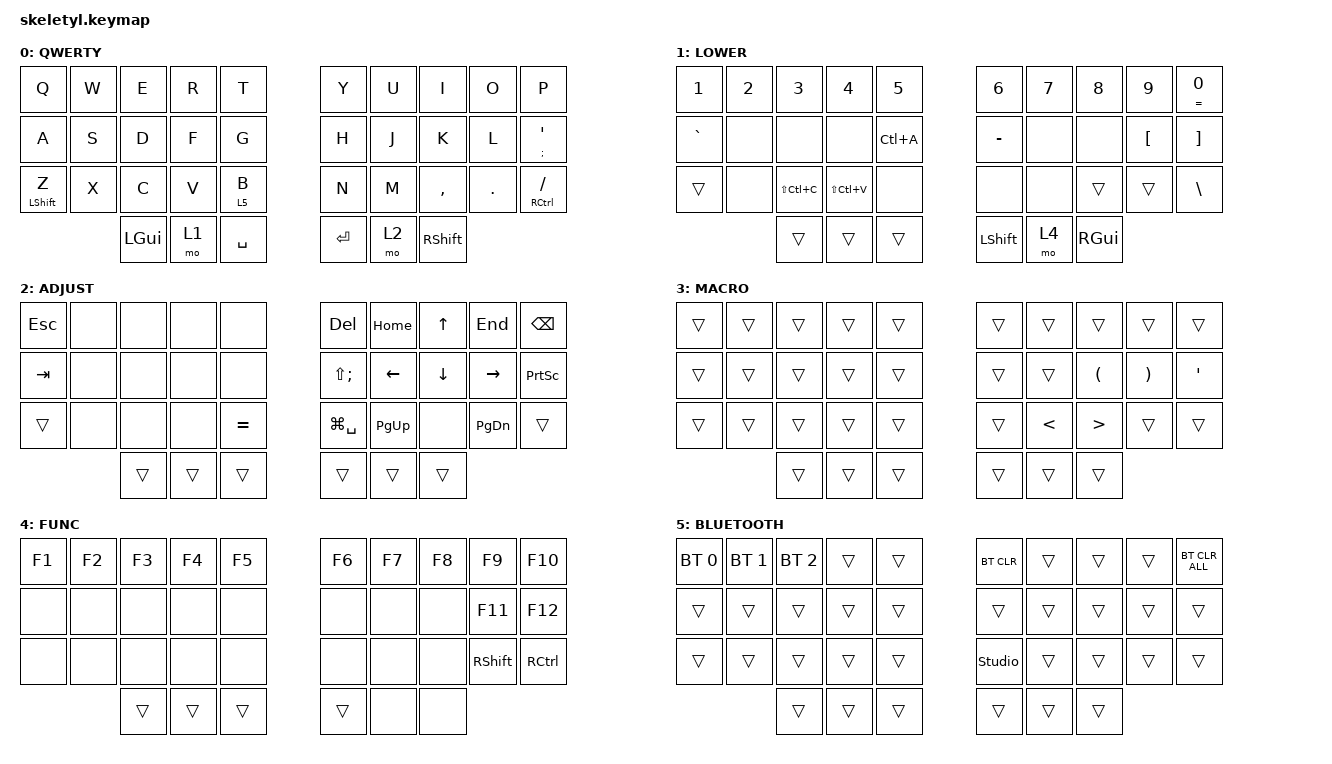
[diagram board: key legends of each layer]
#include <behaviors.dtsi>
#include <dt-bindings/zmk/bt.h>
#include <dt-bindings/zmk/keys.h>

/ {
    behaviors {
        hm: homerow_mods {
            compatible = "zmk,behavior-hold-tap";
            label = "HOMEROW_MODS";
            #binding-cells = <2>;
            tapping-term-ms = <300>;
            quick_tap_ms = <0>;
            flavor = "tap-preferred";
            bindings = <&kp>, <&kp>;
        };
    };

    conditional_layers { compatible = "zmk,conditional-layers"; };

    combos {
        compatible = "zmk,combos";

        esc {
            bindings = <&kp ESC>;
            key-positions = <0 1>;
            layers = <0 1 2 3 4>;
        };

        back {
            bindings = <&kp BACKSPACE>;
            key-positions = <8 9>;
            layers = <0 2 1 3 4>;
        };

        Tab {
            bindings = <&kp TAB>;
            key-positions = <10 11>;
        };
    };

    keymap {
        compatible = "zmk,keymap";

        QWERTY {
            bindings = <
&kp Q             &kp W  &kp E         &kp R  &kp T        &kp Y      &kp U  &kp I            &kp O       &kp P
&kp A             &kp S  &kp D         &kp F  &kp G        &kp H      &kp J  &kp K            &kp L       &hm SEMI SQT
&hm LEFT_SHIFT Z  &kp X  &kp C         &kp V  &lt 5 B      &kp N      &kp M  &kp COMMA        &kp PERIOD  &hm RCTRL SLASH
                         &kp LEFT_GUI  &mo 1  &kp SPACE    &kp ENTER  &mo 2  &kp RIGHT_SHIFT
            >;

            label = "QWERTY";
        };

        LOWER {
            bindings = <
&kp N1     &kp N2  &kp N3         &kp N4         &kp N5       &kp N6          &kp N7  &kp N8         &kp N9            &hm EQUAL N0
&kp GRAVE  &none   &none          &none          &kp LC(A)    &kp MINUS       &none   &none          &kp LEFT_BRACKET  &kp RIGHT_BRACKET
&trans     &none   &kp LS(LC(C))  &kp LS(LC(V))  &none        &none           &none   &trans         &trans            &kp BACKSLASH
                   &trans         &trans         &trans       &kp LEFT_SHIFT  &mo 4   &kp RIGHT_GUI
            >;

            label = "LOWER";
        };

        ADJUST {
            bindings = <
&kp ESC  &none  &none   &none   &none        &kp DELETE         &kp HOME        &kp UP_ARROW    &kp END          &kp BACKSPACE
&kp TAB  &none  &none   &none   &none        &kp LS(SEMICOLON)  &kp LEFT_ARROW  &kp DOWN_ARROW  &kp RIGHT_ARROW  &kp PRINTSCREEN
&trans   &none  &none   &none   &kp EQUAL    &kp LG(SPACE)      &kp PAGE_UP     &none           &kp PAGE_DOWN    &trans
                &trans  &trans  &trans       &trans             &trans          &trans
            >;

            label = "ADJUST";
        };

        MACRO {
            label = "MACRO";
            bindings = <
&trans  &trans  &trans  &trans  &trans    &trans  &trans         &trans                &trans                 &trans
&trans  &trans  &trans  &trans  &trans    &trans  &trans         &kp LEFT_PARENTHESIS  &kp RIGHT_PARENTHESIS  &kp SINGLE_QUOTE
&trans  &trans  &trans  &trans  &trans    &trans  &kp LESS_THAN  &kp GREATER_THAN      &trans                 &trans
                &trans  &trans  &trans    &trans  &trans         &trans
            >;
        };

        FUNC {
            label = "FUNC";
            bindings = <
&kp F1  &kp F2  &kp F3  &kp F4  &kp F5    &kp F6  &kp F7  &kp F8  &kp F9           &kp F10
&none   &none   &none   &none   &none     &none   &none   &none   &kp F11          &kp F12
&none   &none   &none   &none   &none     &none   &none   &none   &kp RIGHT_SHIFT  &kp RCTRL
                &trans  &trans  &trans    &trans  &none   &none
            >;
        };

        BLUETOOTH {
            bindings = <
&bt BT_SEL 0  &bt BT_SEL 1  &bt BT_SEL 2  &trans  &trans    &bt BT_CLR      &trans  &trans  &trans  &bt BT_CLR_ALL
&trans        &trans        &trans        &trans  &trans    &trans          &trans  &trans  &trans  &trans
&trans        &trans        &trans        &trans  &trans    &studio_unlock  &trans  &trans  &trans  &trans
                            &trans        &trans  &trans    &trans          &trans  &trans
            >;
        };
    };
};
